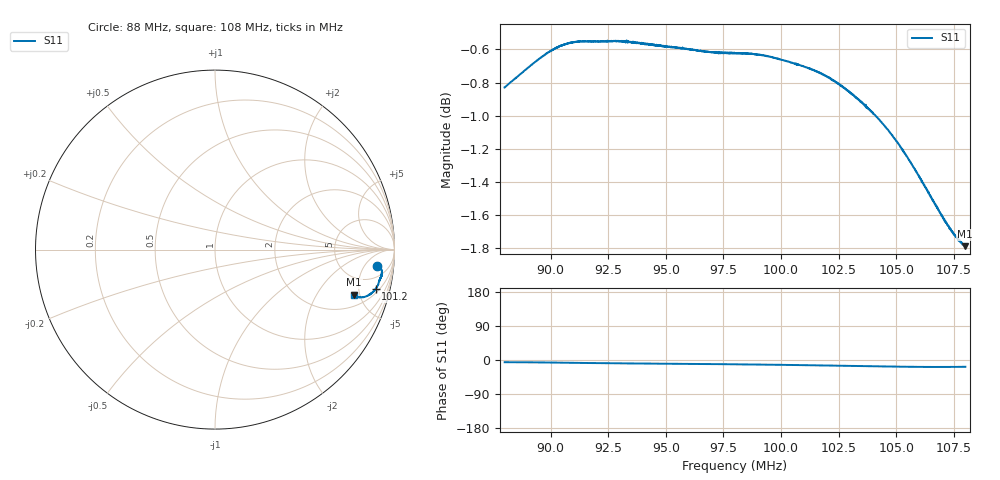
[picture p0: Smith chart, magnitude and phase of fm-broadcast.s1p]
! Calibrated averaged scanner-service zoom
# Hz S RI R 50
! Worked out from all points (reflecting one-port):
!   2001 points, 88 MHz to 108 MHz, reference 50 ohm
!   lowest |S11| = -1.8 dB at 108 MHz (marker M1), VSWR 9.75, Z = 148 - j220 ohm
!   phase of S11 starts at -6 deg and turns -12 deg over the sweep
!   S11 on the Smith chart (normalised r, x): 88 MHz: 10, -10; 101.2 MHz: 2.56, -7.42; 108 MHz: 2.97, -4.41
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8.8e7  0.9041 -0.0929
8.859e7  0.9112 -0.0956
8.922e7  0.9186 -0.1001
8.989e7  0.9252 -0.1072
9.05e7  0.9286 -0.1153
9.095e7  0.9299 -0.1214
9.158e7  0.9296 -0.1295
9.3e7  0.9274 -0.1433
9.383e7  0.9251 -0.1507
9.55e7  0.92 -0.1636
9.695e7  0.915 -0.1744
9.8e7  0.9127 -0.1827
9.917e7  0.9087 -0.1957
1.005e8  0.9001 -0.2109
1.0116e8  0.8948 -0.2191
1.0206e8  0.8859 -0.2309
1.03e8  0.8726 -0.2428
1.0359e8  0.8633 -0.2493
1.0426e8  0.8511 -0.2564
1.0487e8  0.8382 -0.2618
1.055e8  0.8238 -0.2653
1.0602e8  0.8113 -0.2664
1.0669e8  0.7955 -0.2643
1.0702e8  0.7879 -0.2615
1.074e8  0.781 -0.2576
1.0773e8  0.7766 -0.2534
1.0797e8  0.7743 -0.2509
1.08e8  0.7745 -0.2508
